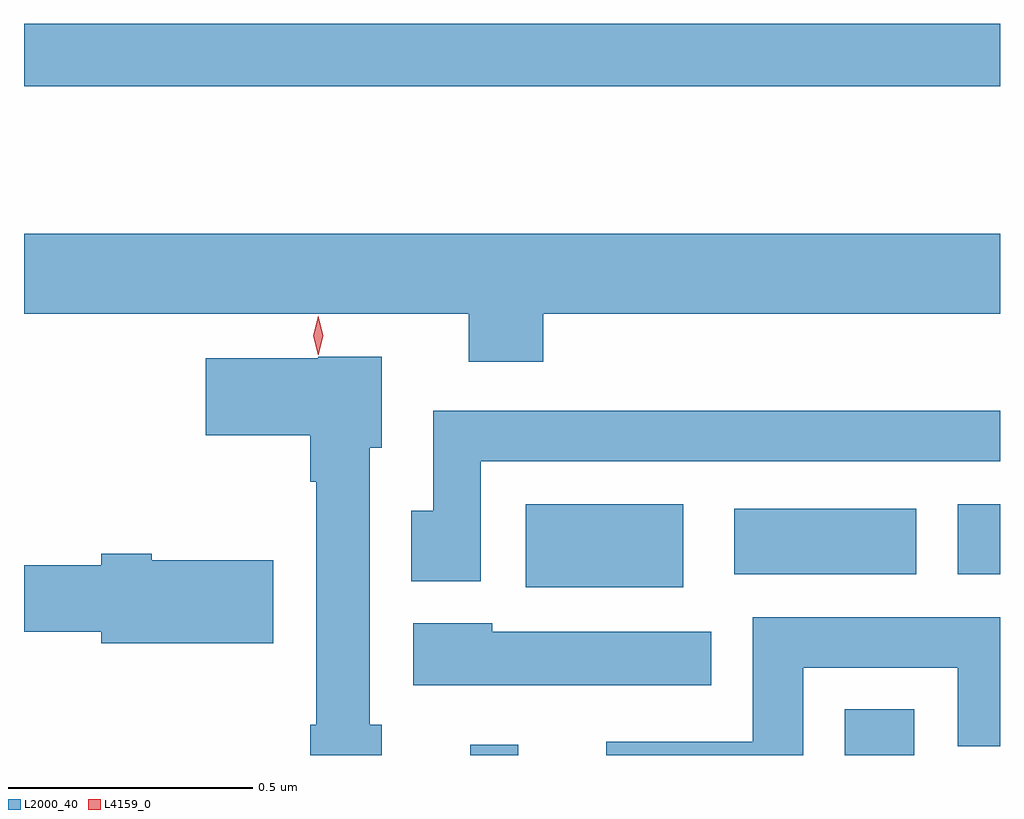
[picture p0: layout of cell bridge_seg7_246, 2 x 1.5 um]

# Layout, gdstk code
import gdstk
lib = gdstk.Library(unit=1e-6, precision=1e-09)
def R(c, l, rs):  # rectangles x0, y0, x1, y1
    for r in rs: c.add(gdstk.rectangle(r[:2], r[2:], *l))
def P(c, l, *ps):  # polygons
    for p in ps: c.add(gdstk.Polygon(p, *l))
L2000_40 = (2000, 40)
L4159_0 = (4159, 0)

bridge_seg7_246 = lib.new_cell('bridge_seg7_246')
R(bridge_seg7_246, L2000_40, [(322.184,1047.663,322.283,1047.685), (322.952,1047.663,323.094,1047.757), (322.298,1048.007,322.621,1048.177), (322.725,1048.034,323.098,1048.168), (323.183,1048.034,323.27,1048.177), (321.27,1049.034,323.27,1049.162)])
P(bridge_seg7_246, L2000_40, [(322.334,1048.568),(323.27,1048.568),(323.27,1048.732),(321.27,1048.732),(321.27,1048.568),(322.181,1048.568),(322.181,1048.469),(322.334,1048.469)],
  [(322.003,1047.726),(321.979,1047.726),(321.979,1048.293),(322.003,1048.293),(322.003,1048.48),(321.873,1048.48),(321.873,1048.477),(321.642,1048.477),(321.642,1048.319),(321.857,1048.319),(321.857,1048.223),(321.869,1048.223),(321.869,1047.726),(321.857,1047.726),(321.857,1047.663),(322.003,1047.663)],
  [(322.206,1048.265),(323.27,1048.265),(323.27,1048.369),(322.109,1048.369),(322.109,1048.164),(322.064,1048.164),(322.064,1048.02),(322.206,1048.02)],
  [(321.781,1048.063),(321.532,1048.063),(321.532,1048.076),(321.428,1048.076),(321.428,1048.052),(321.27,1048.052),(321.27,1047.916),(321.428,1047.916),(321.428,1047.893),(321.781,1047.893)],
  [(322.867,1047.842),(323.183,1047.842),(323.183,1047.681),(323.27,1047.681),(323.27,1047.946),(322.763,1047.946),(322.763,1047.691),(322.463,1047.691),(322.463,1047.663),(322.867,1047.663)],
  [(322.678,1047.916),(322.23,1047.916),(322.23,1047.934),(322.068,1047.934),(322.068,1047.806),(322.678,1047.806)])
P(bridge_seg7_246, L4159_0, [(321.873,1048.483),(321.873,1048.483),(321.863,1048.523),(321.873,1048.564),(321.873,1048.564),(321.873,1048.564),(321.883,1048.523),(321.873,1048.483)])

lib.write_gds('bridge_seg7_246.gds')
